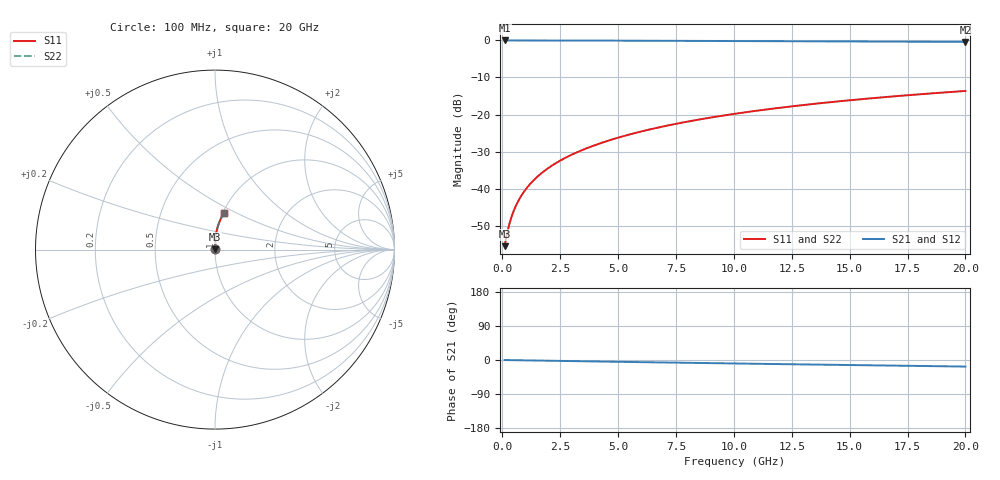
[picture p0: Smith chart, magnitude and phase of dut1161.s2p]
! Touchstone file exported from HFSS 2024.1.0
!  File:  C:/UserFiles/LocalFiles/RDL_TSV_Batchsim/temp_RDL_bottom_1161_1780056431.aedt
!  Generated:  08:09:49 PM May 29, 2026
!  Design:  RDL_bottom
!  Project:  temp_RDL_bottom_1161_1780056431
!  Setup:  Setup1
!  Solution:  Sweep
! Variables:
!  dtsv = 10.80580581um
!  hbump = 3um
!  htsv = 94.29um
!  ldown = 183.92um
!  lrdl = 100um
!  p = 40
!  p1 = 57.14um
!  rhole = 1um
!  t = 450um
!  tdown = 2.85um
!  trdl = 3.915915916um
!  wdown = 21.52um
!  wrdl = 20um
# GHz S MA R 50.000000
! Terminal data exported
! Port[1] = RDL1_T1
! Port[2] = RDL1_T2
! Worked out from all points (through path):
!   200 points, 100 MHz to 20 GHz, reference 50 ohm
!   highest |S21| = -0.01 dB at 100 MHz (marker M1); lowest = -0.4 dB at 20 GHz (marker M2)
!   group delay of S21, straight-line fit = 2.39 ps
!   lowest |S11| = -55.5 dB at 100 MHz (marker M3), VSWR 1.00, Z = 50.1 + j0.101 ohm
!   |S11| at or under -10 dB: start of sweep to end of sweep
!   |S22| runs from -55.5 to -13.6 dB; largest |S21 - S12| = 3.4e-15
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0.1  0.001677 37.0  0.9987 -0.1  0.9987 -0.1  0.001677 37.0
! Gamma 0 0 0 0
! Port Impedance 50 0 50 0
0.2  0.002428 55.5  0.9986 -0.2  0.9986 -0.2  0.002428 55.5
0.3  0.003292 64.4  0.9986 -0.3  0.9986 -0.3  0.003292 64.4
0.4  0.004186 69.6  0.9985 -0.4  0.9985 -0.4  0.004186 69.6
0.5  0.005089 73.0  0.9984 -0.5  0.9984 -0.5  0.005089 73.0
0.6  0.005999 75.4  0.9984 -0.6  0.9984 -0.6  0.005999 75.4
0.8  0.007833 78.6  0.9982 -0.8  0.9982 -0.8  0.007833 78.6
1.1  0.01061 81.5  0.998 -1.1  0.998 -1.1  0.01061 81.5
1.5  0.01436 83.7  0.9977 -1.5  0.9977 -1.5  0.01436 83.7
1.8  0.0172 84.8  0.9975 -1.8  0.9975 -1.8  0.0172 84.8
2.1  0.02005 85.5  0.9971 -2.1  0.9971 -2.1  0.02005 85.5
2.7  0.02582 86.5  0.9964 -2.6  0.9964 -2.6  0.02582 86.5
3.5  0.03365 87.3  0.9952 -3.4  0.9952 -3.4  0.03365 87.3
4.2  0.04063 87.6  0.994 -4.0  0.994 -4.0  0.04063 87.6
5  0.04876 87.7  0.9924 -4.8  0.9924 -4.8  0.04876 87.7
5.9  0.05807 87.6  0.9905 -5.6  0.9905 -5.6  0.05807 87.6
6.8  0.06753 87.3  0.9885 -6.4  0.9885 -6.4  0.06753 87.3
8.4  0.08461 86.4  0.9847 -7.8  0.9847 -7.8  0.08462 86.4
10.1  0.103 85.2  0.9806 -9.3  0.9806 -9.3  0.103 85.2
13.4  0.1387 82.4  0.9724 -12.0  0.9724 -12.0  0.1387 82.4
16.7  0.1738 79.4  0.9639 -14.7  0.9639 -14.7  0.1738 79.4
20  0.208 76.5  0.9549 -17.3  0.9549 -17.3  0.208 76.5
